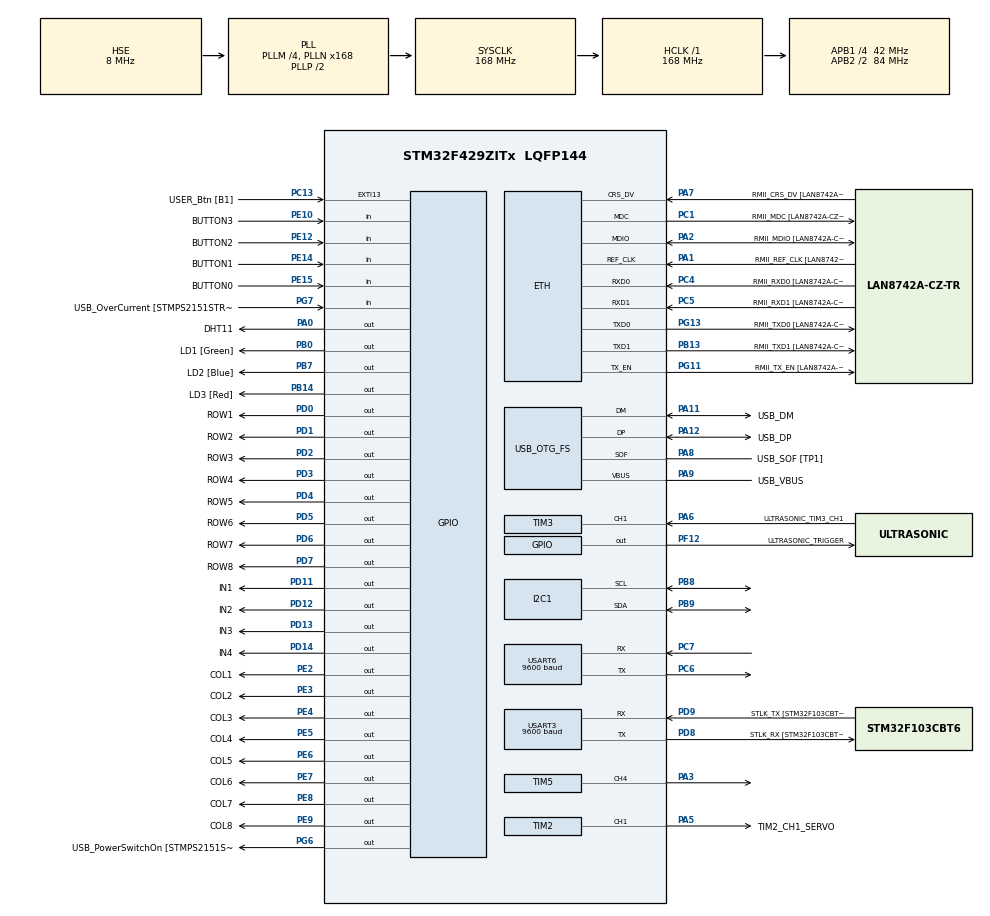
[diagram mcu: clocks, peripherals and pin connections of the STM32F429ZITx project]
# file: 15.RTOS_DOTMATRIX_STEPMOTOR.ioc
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ETH.MediaInterface=HAL_ETH_RMII_MODE
FREERTOS.Mutexes01=myMutex01,Dynamic,NULL
FREERTOS.Tasks01=defaultTask,24,128,StartDefaultTask,Default,NULL,Dynamic,NULL,NULL;Task1,8,128,Task1_func,Default,NULL,Dynamic,NULL,NULL;Task2,8,128,Task2_func,Default,NULL,Dynamic,NULL,NULL;Task3,8,128,Task3_func,Default,NULL,Dynamic,NULL,NULL
FREERTOS.configUSE_NEWLIB_REENTRANT=1
Mcu.Family=STM32F4
Mcu.Name=STM32F429ZITx
Mcu.Package=LQFP144
NVIC.EXTI15_10_IRQn=true\:5\:0\:false\:false\:true\:true\:true\:true\:true
NVIC.PriorityGroup=NVIC_PRIORITYGROUP_4
NVIC.TIM1_TRG_COM_TIM11_IRQn=true\:5\:0\:false\:false\:true\:true\:true\:true\:true
NVIC.TIM1_UP_TIM10_IRQn=true\:5\:0\:false\:false\:true\:true\:true\:true\:true
NVIC.TIM2_IRQn=true\:5\:0\:false\:false\:true\:true\:true\:true\:true
NVIC.TIM3_IRQn=true\:5\:0\:false\:false\:true\:true\:true\:true\:true
NVIC.TIM4_IRQn=true\:5\:0\:false\:false\:true\:true\:true\:true\:true
NVIC.TIM5_IRQn=true\:5\:0\:false\:false\:true\:true\:true\:true\:true
NVIC.TIM6_DAC_IRQn=true\:15\:0\:false\:false\:true\:false\:false\:true\:true
NVIC.TimeBase=TIM6_DAC_IRQn
NVIC.TimeBaseIP=TIM6
NVIC.USART3_IRQn=true\:5\:0\:false\:false\:true\:true\:true\:true\:true
NVIC.USART6_IRQn=true\:5\:0\:false\:false\:true\:true\:true\:true\:true
PA0/WKUP.GPIO_Label=DHT11
PA0/WKUP.Signal=GPIO_Output
PA1.GPIO_Label=RMII_REF_CLK [LAN8742A-CZ-TR_REFCLK0]
PA1.Mode=RMII
PA1.Signal=ETH_REF_CLK
PA10.GPIO_Label=USB_ID
PA10.Signal=USB_OTG_FS_ID
PA11.GPIO_Label=USB_DM
PA11.Mode=Device_Only
PA11.Signal=USB_OTG_FS_DM
PA12.GPIO_Label=USB_DP
PA12.Mode=Device_Only
PA12.Signal=USB_OTG_FS_DP
PA13.GPIO_Label=TMS
PA13.Mode=Serial_Wire
PA13.Signal=SYS_JTMS-SWDIO
PA14.GPIO_Label=TCK
PA14.Mode=Serial_Wire
PA14.Signal=SYS_JTCK-SWCLK
PA2.GPIO_Label=RMII_MDIO [LAN8742A-CZ-TR_MDIO]
PA2.Mode=RMII
PA2.Signal=ETH_MDIO
PA3.Signal=S_TIM5_CH4
PA5.GPIO_Label=TIM2_CH1_SERVO
PA5.Signal=S_TIM2_CH1_ETR
PA6.GPIO_Label=ULTRASONIC_TIM3_CH1
PA6.Signal=S_TIM3_CH1
PA7.GPIO_Label=RMII_CRS_DV [LAN8742A-CZ-TR_CRS_DV]
PA7.Mode=RMII
PA7.Signal=ETH_CRS_DV
PA8.GPIO_Label=USB_SOF [TP1]
PA8.Mode=Activate_SOF_FS
PA8.Signal=USB_OTG_FS_SOF
PA9.GPIO_Label=USB_VBUS
PA9.Mode=Activate_VBUS
PA9.Signal=USB_OTG_FS_VBUS
PB0.GPIO_Label=LD1 [Green]
PB0.Signal=GPIO_Output
PB13.GPIO_Label=RMII_TXD1 [LAN8742A-CZ-TR_TXD1]
PB13.Mode=RMII
PB13.Signal=ETH_TXD1
PB14.GPIO_Label=LD3 [Red]
PB14.Signal=GPIO_Output
PB7.GPIO_Label=LD2 [Blue]
PB7.Signal=GPIO_Output
PB8.Mode=I2C
PB8.Signal=I2C1_SCL
PB9.Mode=I2C
PB9.Signal=I2C1_SDA
PC1.GPIO_Label=RMII_MDC [LAN8742A-CZ-TR_MDC]
PC1.Mode=RMII
PC1.Signal=ETH_MDC
PC13.GPIO_Label=USER_Btn [B1]
PC13.Signal=GPXTI13
PC14/OSC32_IN.Mode=LSE-External-Oscillator
PC14/OSC32_IN.Signal=RCC_OSC32_IN
PC15/OSC32_OUT.Mode=LSE-External-Oscillator
PC15/OSC32_OUT.Signal=RCC_OSC32_OUT
PC4.GPIO_Label=RMII_RXD0 [LAN8742A-CZ-TR_RXD0]
PC4.Mode=RMII
PC4.Signal=ETH_RXD0
PC5.GPIO_Label=RMII_RXD1 [LAN8742A-CZ-TR_RXD1]
PC5.Mode=RMII
PC5.Signal=ETH_RXD1
PC6.Mode=Asynchronous
PC6.Signal=USART6_TX
PC7.Mode=Asynchronous
PC7.Signal=USART6_RX
PD0.GPIO_Label=ROW1
PD0.Signal=GPIO_Output
PD1.GPIO_Label=ROW2
PD1.Signal=GPIO_Output
PD11.GPIO_Label=IN1
PD11.Signal=GPIO_Output
PD12.GPIO_Label=IN2
PD12.Signal=GPIO_Output
PD13.GPIO_Label=IN3
PD13.Signal=GPIO_Output
PD14.GPIO_Label=IN4
PD14.Signal=GPIO_Output
PD2.GPIO_Label=ROW3
PD2.Signal=GPIO_Output
PD3.GPIO_Label=ROW4
PD3.Signal=GPIO_Output
PD4.GPIO_Label=ROW5
PD4.Signal=GPIO_Output
PD5.GPIO_Label=ROW6
PD5.Signal=GPIO_Output
PD6.GPIO_Label=ROW7
PD6.Signal=GPIO_Output
PD7.GPIO_Label=ROW8
PD7.Signal=GPIO_Output
PD8.GPIO_Label=STLK_RX [STM32F103CBT6_PA3]
PD8.Mode=Asynchronous
PD8.Signal=USART3_TX
PD9.GPIO_Label=STLK_TX [STM32F103CBT6_PA2]
PD9.Mode=Asynchronous
PD9.Signal=USART3_RX
PE10.GPIO_Label=BUTTON3
PE10.Signal=GPIO_Input
PE12.GPIO_Label=BUTTON2
PE12.Signal=GPIO_Input
PE14.GPIO_Label=BUTTON1
PE14.Signal=GPIO_Input
PE15.GPIO_Label=BUTTON0
PE15.Signal=GPIO_Input
PE2.GPIO_Label=COL1
PE2.Signal=GPIO_Output
PE3.GPIO_Label=COL2
PE3.Signal=GPIO_Output
PE4.GPIO_Label=COL3
PE4.Signal=GPIO_Output
PE5.GPIO_Label=COL4
PE5.Signal=GPIO_Output
PE6.GPIO_Label=COL5
PE6.Signal=GPIO_Output
PE7.GPIO_Label=COL6
PE7.Signal=GPIO_Output
PE8.GPIO_Label=COL7
PE8.Signal=GPIO_Output
PE9.GPIO_Label=COL8
PE9.Signal=GPIO_Output
PF12.GPIO_Label=ULTRASONIC_TRIGGER
PF12.Signal=GPIO_Output
PG11.GPIO_Label=RMII_TX_EN [LAN8742A-CZ-TR_TXEN]
PG11.Mode=RMII
PG11.Signal=ETH_TX_EN
PG13.GPIO_Label=RMII_TXD0 [LAN8742A-CZ-TR_TXD0]
PG13.Mode=RMII
PG13.Signal=ETH_TXD0
PG6.GPIO_Label=USB_PowerSwitchOn [STMPS2151STR_EN]
PG6.Signal=GPIO_Output
PG7.GPIO_Label=USB_OverCurrent [STMPS2151STR_FAULT]
PG7.Signal=GPIO_Input
PH0/OSC_IN.GPIO_Label=MCO [STM32F103CBT6_PA8]
PH0/OSC_IN.Mode=HSE-External-Clock-Source
PH0/OSC_IN.Signal=RCC_OSC_IN
PH1/OSC_OUT.Mode=HSE-External-Clock-Source
PH1/OSC_OUT.Signal=RCC_OSC_OUT
ProjectManager.HeapSize=0x200
ProjectManager.StackSize=0x400
ProjectManager.TargetToolchain=STM32CubeIDE
RCC.48MHZClocksFreq_Value=48000000
RCC.AHBFreq_Value=168000000
RCC.APB1CLKDivider=RCC_HCLK_DIV4
RCC.APB1Freq_Value=42000000
RCC.APB1TimFreq_Value=84000000
RCC.APB2CLKDivider=RCC_HCLK_DIV2
RCC.APB2Freq_Value=84000000
RCC.APB2TimCLKDivider=2
RCC.APB2TimFreq_Value=168000000
RCC.CortexFreq_Value=168000000
RCC.HCLKFreq_Value=168000000
RCC.HSE_VALUE=8000000
RCC.HSI_VALUE=16000000
RCC.PLLM=4
RCC.PLLMUL=RCC_PLL_MUL9
RCC.PLLN=168
RCC.PLLQ=7
RCC.PRESCALERUSB=RCC_USBCLKSOURCE_PLL_DIV1_5
RCC.SYSCLKFreq_VALUE=168000000
RCC.SYSCLKSource=RCC_SYSCLKSOURCE_PLLCLK
RCC.SYSCLKSourceVirtual=RCC_SYSCLKSOURCE_PLLCLK
RCC.USBFreq_Value=48000000
RCC.VCOOutputFreq_Value=336000000
RTC.Date=16
RTC.Hours=9
RTC.Minutes=38
RTC.Month=RTC_MONTH_OCTOBER
RTC.Year=23
SH.S_TIM2_CH1_ETR.0=TIM2_CH1,PWM Generation1 CH1
SH.S_TIM3_CH1.0=TIM3_CH1,Input_Capture1_from_TI1
SH.S_TIM5_CH4.0=TIM5_CH4,PWM Generation4 CH4
TIM10.Period=10000-1
TIM10.Prescaler=168-1
TIM11.Prescaler=168-1
TIM2.Channel-PWM\ Generation1\ CH1=TIM_CHANNEL_1
TIM2.Period=1000-1
TIM2.Prescaler=1680-1
TIM2.Pulse-PWM\ Generation1\ CH1=500-1
TIM3.Channel-Input_Capture1_from_TI1=TIM_CHANNEL_1
TIM3.ICPolarity_CH1=TIM_INPUTCHANNELPOLARITY_BOTHEDGE
TIM3.Prescaler=84-1
TIM4.Period=100-1
TIM4.Prescaler=840-1
TIM5.Channel-PWM\ Generation4\ CH4=TIM_CHANNEL_4
TIM5.Period=400-1
TIM5.Prescaler=52.5-1
TIM5.Pulse-PWM\ Generation4\ CH4=200-1
USART3.BaudRate=9600
USART3.VirtualMode=VM_ASYNC
USART6.BaudRate=9600
USART6.VirtualMode=VM_ASYNC
USB_OTG_FS.VirtualMode=Device_Only
VP_FREERTOS_VS_CMSIS_V2.Mode=CMSIS_V2
VP_RTC_VS_RTC_Activate.Mode=RTC_Enabled
VP_RTC_VS_RTC_Calendar.Mode=RTC_Calendar
VP_SYS_VS_tim6.Mode=TIM6
VP_TIM10_VS_ClockSourceINT.Mode=Enable_Timer
VP_TIM11_VS_ClockSourceINT.Mode=Enable_Timer
VP_TIM4_VS_ClockSourceINT.Mode=Internal
VP_TIM5_VS_ClockSourceINT.Mode=Internal
board=NUCLEO-F429ZI

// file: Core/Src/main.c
/* USER CODE BEGIN Header */
/**
  ******************************************************************************
  * @file           : main.c
  * @brief          : Main program body
  ******************************************************************************
  * @attention
  *
  * Copyright (c) 2023 STMicroelectronics.
  * All rights reserved.
  *
  * This software is licensed under terms that can be found in the LICENSE file
  * in the root directory of this software component.
  * If no LICENSE file comes with this software, it is provided AS-IS.
  *
  ******************************************************************************
  */
/* USER CODE END Header */
#include "main.h"
#include "string.h"
#include "cmsis_os.h"

ETH_TxPacketConfig TxConfig;
ETH_DMADescTypeDef  DMARxDscrTab[ETH_RX_DESC_CNT]; /* Ethernet Rx DMA Descriptors */
ETH_DMADescTypeDef  DMATxDscrTab[ETH_TX_DESC_CNT]; /* Ethernet Tx DMA Descriptors */

ETH_HandleTypeDef heth;

I2C_HandleTypeDef hi2c1;

RTC_HandleTypeDef hrtc;

TIM_HandleTypeDef htim2;
TIM_HandleTypeDef htim3;
TIM_HandleTypeDef htim4;
TIM_HandleTypeDef htim5;
TIM_HandleTypeDef htim10;
TIM_HandleTypeDef htim11;

UART_HandleTypeDef huart3;
UART_HandleTypeDef huart6;

PCD_HandleTypeDef hpcd_USB_OTG_FS;

/* Definitions for defaultTask */
osThreadId_t defaultTaskHandle;
const osThreadAttr_t defaultTask_attributes = {
  .name = "defaultTask",
  .stack_size = 128 * 4,
  .priority = (osPriority_t) osPriorityNormal,
};
/* Definitions for Task1 */
osThreadId_t Task1Handle;
const osThreadAttr_t Task1_attributes = {
  .name = "Task1",
  .stack_size = 128 * 4,
  .priority = (osPriority_t) osPriorityLow,
};
/* Definitions for Task2 */
osThreadId_t Task2Handle;
const osThreadAttr_t Task2_attributes = {
  .name = "Task2",
  .stack_size = 128 * 4,
  .priority = (osPriority_t) osPriorityLow,
};
/* Definitions for Task3 */
osThreadId_t Task3Handle;
const osThreadAttr_t Task3_attributes = {
  .name = "Task3",
  .stack_size = 128 * 4,
  .priority = (osPriority_t) osPriorityLow,
};
/* Definitions for myMutex01 */
osMutexId_t myMutex01Handle;
const osMutexAttr_t myMutex01_attributes = {
  .name = "myMutex01"
};
/* USER CODE BEGIN PV */
uint8_t rx_data;   // uart3 rx data
uint8_t bt_rx_data;   // uart6 bt rx data
volatile int TIM10_10ms_counter=0;
volatile int TIM10_10ms_ultrasonic=0;
/* USER CODE END PV */

void SystemClock_Config(void);
static void MX_GPIO_Init(void);
static void MX_ETH_Init(void);
static void MX_USART3_UART_Init(void);
static void MX_USB_OTG_FS_PCD_Init(void);
static void MX_USART6_UART_Init(void);
static void MX_TIM10_Init(void);
static void MX_TIM11_Init(void);
static void MX_TIM3_Init(void);
static void MX_TIM4_Init(void);
static void MX_TIM2_Init(void);
static void MX_RTC_Init(void);
static void MX_TIM5_Init(void);
static void MX_I2C1_Init(void);
void StartDefaultTask(void *argument);
void Task1_func(void *argument);
void Task2_func(void *argument);
void Task3_func(void *argument);

/* USER CODE BEGIN PFP */
extern void led_main(void);
extern void pc_command_processing(void);
extern void bt_command_processing(void);
extern void DHT11_main(void);
extern void DHT11_Init(void);
extern void DHT11_processing(void);
extern void ultrasonic_processing(void);
extern void i2c_lcd_main(void);
extern void i2c_lcd_init(void);
extern void lcd_string(uint8_t *str);
extern void move_cursor(uint8_t row, uint8_t column);
extern void dcmotor_pwm_control(void);
extern void servo_motor_test_main(void);
extern void get_rtc(void);
extern void lcd_display_mode_select(void);
extern void set_time_button_ui(void);
extern void buzzer_main();
extern int dotmatrix_main_test(void);
extern int dotmatrix_main(void);
extern void stepmotor_main_test(void);
extern void init_dotmatrix(void);

void delay_us(unsigned long us);
/* USER CODE END PFP */

/* USER CODE BEGIN 0 */
//---------------
// call by SysTick_Handler of stm32f4xx_it.c
// ARM default timer
// enter here every 1ms
volatile int t1ms_counter=0;  // volatile : for disable optimize
void HAL_SYSTICK_Handler(void)
{
	t1ms_counter++;   // 1ms timer
}
//----------  printf start ----------
#ifdef __GNUC__
/* With GCC, small printf (option LD Linker->Libraries->Small printf
   set to 'Yes') calls __io_putchar() */
#define PUTCHAR_PROTOTYPE int __io_putchar(int ch)
#else
#define PUTCHAR_PROTOTYPE int fputc(int ch, FILE *f)
#endif /* __GNUC_ */
/**
  * @brief  Retargets the C library printf function to the USART.
  * @param  None
  * @retval None
  */
PUTCHAR_PROTOTYPE   // Add for printf
{
  /* Place your implementation of fputc here */
  /* e.g. write a character to the USART3 and Loop until the end of transmission */
  HAL_UART_Transmit(&huart3, (uint8_t *)&ch, 1, 0xFFFF);

  return ch;
}
//----------  printf end ----------

void delay_us(unsigned long us)
{
	__HAL_TIM_SET_COUNTER(&htim11,0);   // tim11 clear
	while(__HAL_TIM_GET_COUNTER(&htim11) < us)
		;
}
/* USER CODE END 0 */

int main(void)
{

  /* MCU Configuration--------------------------------------------------------*/

  /* Reset of all peripherals, Initializes the Flash interface and the Systick. */
  HAL_Init();

  /* Configure the system clock */
  SystemClock_Config();

  /* Initialize all configured peripherals */
  MX_GPIO_Init();
  MX_ETH_Init();
  MX_USART3_UART_Init();
  MX_USB_OTG_FS_PCD_Init();
  MX_USART6_UART_Init();
  MX_TIM10_Init();
  MX_TIM11_Init();
  MX_TIM3_Init();
  MX_TIM4_Init();
  MX_TIM2_Init();
  MX_RTC_Init();
  MX_TIM5_Init();
  MX_I2C1_Init();
  /* USER CODE BEGIN 2 */
  HAL_UART_Receive_IT(&huart3, &rx_data, 1);   // assing to RX INT
  HAL_UART_Receive_IT(&huart6, &bt_rx_data, 1);   // for BT assing to RX INT
  HAL_TIM_Base_Start_IT(&htim10);   // ADD_SIKWON_1011
  HAL_TIM_Base_Start_IT(&htim11);   // ADD_SIKWON_1011
  HAL_TIM_IC_Start_IT(&htim3, TIM_CHANNEL_1);   // for count pulse(rising edge & falling edge)
  HAL_TIM_PWM_Start_IT(&htim4, TIM_CHANNEL_1);  // for DC motor PWM control
  HAL_TIM_PWM_Start(&htim2, TIM_CHANNEL_1);   // for SERVO motor PWM control
  HAL_TIM_PWM_Start(&htim5, TIM_CHANNEL_4);   // PIEZO Buzzer

//  DHT11_Init();
//  i2c_lcd_init();
  init_dotmatrix();

  TIM10_10ms_counter=0;

//	stepmotor_main_test(); // Placed in Task2_func() instead for multithreading

//  dotmatrix_main(); // Placed in Task1_func() instead for multithreading

//  dotmatrix_main_test();
//  led_main();
//  DHT11_main();
//  i2c_lcd_main();
//  servo_motor_test_main();
//    buzzer_main();

  /* USER CODE END 2 */

  /* Init scheduler */
  osKernelInitialize();
  /* Create the mutex(es) */
  /* creation of myMutex01 */
  myMutex01Handle = osMutexNew(&myMutex01_attributes);

  /* Create the thread(s) */
  /* creation of defaultTask */
  defaultTaskHandle = osThreadNew(StartDefaultTask, NULL, &defaultTask_attributes);

  /* creation of Task1 */
  Task1Handle = osThreadNew(Task1_func, NULL, &Task1_attributes);

  /* creation of Task2 */
  Task2Handle = osThreadNew(Task2_func, NULL, &Task2_attributes);

  /* creation of Task3 */
  Task3Handle = osThreadNew(Task3_func, NULL, &Task3_attributes);

  /* Start scheduler */
  osKernelStart();

  /* We should never get here as control is now taken by the scheduler */
  /* Infinite loop */
  /* USER CODE BEGIN WHILE */
  while (1)
  {
//	DHT11_processing();
// 	pc_command_processing();
// 	bt_command_processing();
// 	ultrasonic_processing();
// 	dcmotor_pwm_control();
// 	get_rtc();
// 	lcd_display_mode_select();
// 	set_time_button_ui();
    /* USER CODE END WHILE */

  }
}

void SystemClock_Config(void)
{
  RCC_OscInitTypeDef RCC_OscInitStruct = {0};
  RCC_ClkInitTypeDef RCC_ClkInitStruct = {0};

  /** Configure the main internal regulator output voltage
  */
  __HAL_RCC_PWR_CLK_ENABLE();
  __HAL_PWR_VOLTAGESCALING_CONFIG(PWR_REGULATOR_VOLTAGE_SCALE1);

  /** Initializes the RCC Oscillators according to the specified parameters
  * in the RCC_OscInitTypeDef structure.
  */
  RCC_OscInitStruct.OscillatorType = RCC_OSCILLATORTYPE_LSI|RCC_OSCILLATORTYPE_HSE;
  RCC_OscInitStruct.HSEState = RCC_HSE_BYPASS;
  RCC_OscInitStruct.LSIState = RCC_LSI_ON;
  RCC_OscInitStruct.PLL.PLLState = RCC_PLL_ON;
  RCC_OscInitStruct.PLL.PLLSource = RCC_PLLSOURCE_HSE;
  RCC_OscInitStruct.PLL.PLLM = 4;
  RCC_OscInitStruct.PLL.PLLN = 168;
  RCC_OscInitStruct.PLL.PLLP = RCC_PLLP_DIV2;
  RCC_OscInitStruct.PLL.PLLQ = 7;
  if (HAL_RCC_OscConfig(&RCC_OscInitStruct) != HAL_OK)
  {
    Error_Handler();
  }

  /** Initializes the CPU, AHB and APB buses clocks
  */
  RCC_ClkInitStruct.ClockType = RCC_CLOCKTYPE_HCLK|RCC_CLOCKTYPE_SYSCLK
                              |RCC_CLOCKTYPE_PCLK1|RCC_CLOCKTYPE_PCLK2;
  RCC_ClkInitStruct.SYSCLKSource = RCC_SYSCLKSOURCE_PLLCLK;
  RCC_ClkInitStruct.AHBCLKDivider = RCC_SYSCLK_DIV1;
  RCC_ClkInitStruct.APB1CLKDivider = RCC_HCLK_DIV4;
  RCC_ClkInitStruct.APB2CLKDivider = RCC_HCLK_DIV2;

  if (HAL_RCC_ClockConfig(&RCC_ClkInitStruct, FLASH_LATENCY_5) != HAL_OK)
  {
    Error_Handler();
  }
}

static void MX_ETH_Init(void)
{

   static uint8_t MACAddr[6];

  heth.Instance = ETH;
  MACAddr[0] = 0x00;
  MACAddr[1] = 0x80;
  MACAddr[2] = 0xE1;
  MACAddr[3] = 0x00;
  MACAddr[4] = 0x00;
  MACAddr[5] = 0x00;
  heth.Init.MACAddr = &MACAddr[0];
  heth.Init.MediaInterface = HAL_ETH_RMII_MODE;
  heth.Init.TxDesc = DMATxDscrTab;
  heth.Init.RxDesc = DMARxDscrTab;
  heth.Init.RxBuffLen = 1524;

  if (HAL_ETH_Init(&heth) != HAL_OK)
  {
    Error_Handler();
  }

  memset(&TxConfig, 0 , sizeof(ETH_TxPacketConfig));
  TxConfig.Attributes = ETH_TX_PACKETS_FEATURES_CSUM | ETH_TX_PACKETS_FEATURES_CRCPAD;
  TxConfig.ChecksumCtrl = ETH_CHECKSUM_IPHDR_PAYLOAD_INSERT_PHDR_CALC;
  TxConfig.CRCPadCtrl = ETH_CRC_PAD_INSERT;

}

static void MX_I2C1_Init(void)
{

  hi2c1.Instance = I2C1;
  hi2c1.Init.ClockSpeed = 100000;
  hi2c1.Init.DutyCycle = I2C_DUTYCYCLE_2;
  hi2c1.Init.OwnAddress1 = 0;
  hi2c1.Init.AddressingMode = I2C_ADDRESSINGMODE_7BIT;
  hi2c1.Init.DualAddressMode = I2C_DUALADDRESS_DISABLE;
  hi2c1.Init.OwnAddress2 = 0;
  hi2c1.Init.GeneralCallMode = I2C_GENERALCALL_DISABLE;
  hi2c1.Init.NoStretchMode = I2C_NOSTRETCH_DISABLE;
  if (HAL_I2C_Init(&hi2c1) != HAL_OK)
  {
    Error_Handler();
  }

  /** Configure Analogue filter
  */
  if (HAL_I2CEx_ConfigAnalogFilter(&hi2c1, I2C_ANALOGFILTER_ENABLE) != HAL_OK)
  {
    Error_Handler();
  }

  /** Configure Digital filter
  */
  if (HAL_I2CEx_ConfigDigitalFilter(&hi2c1, 0) != HAL_OK)
  {
    Error_Handler();
  }

}

static void MX_RTC_Init(void)
{

  RTC_TimeTypeDef sTime = {0};
  RTC_DateTypeDef sDate = {0};

  /** Initialize RTC Only
  */
  hrtc.Instance = RTC;
  hrtc.Init.HourFormat = RTC_HOURFORMAT_24;
  hrtc.Init.AsynchPrediv = 127;
  hrtc.Init.SynchPrediv = 255;
  hrtc.Init.OutPut = RTC_OUTPUT_DISABLE;
  hrtc.Init.OutPutPolarity = RTC_OUTPUT_POLARITY_HIGH;
  hrtc.Init.OutPutType = RTC_OUTPUT_TYPE_OPENDRAIN;
  if (HAL_RTC_Init(&hrtc) != HAL_OK)
  {
    Error_Handler();
  }

  /** Initialize RTC and set the Time and Date
  */
  sTime.Hours = 0x9;
  sTime.Minutes = 0x38;
  sTime.Seconds = 0x0;
  sTime.DayLightSaving = RTC_DAYLIGHTSAVING_NONE;
  sTime.StoreOperation = RTC_STOREOPERATION_RESET;
  if (HAL_RTC_SetTime(&hrtc, &sTime, RTC_FORMAT_BCD) != HAL_OK)
  {
    Error_Handler();
  }
  sDate.WeekDay = RTC_WEEKDAY_MONDAY;
  sDate.Month = RTC_MONTH_OCTOBER;
  sDate.Date = 0x16;
  sDate.Year = 0x23;

  if (HAL_RTC_SetDate(&hrtc, &sDate, RTC_FORMAT_BCD) != HAL_OK)
  {
    Error_Handler();
  }

}

static void MX_TIM2_Init(void)
{

  TIM_MasterConfigTypeDef sMasterConfig = {0};
  TIM_OC_InitTypeDef sConfigOC = {0};

  htim2.Instance = TIM2;
  htim2.Init.Prescaler = 1680-1;
  htim2.Init.CounterMode = TIM_COUNTERMODE_UP;
  htim2.Init.Period = 1000-1;
  htim2.Init.ClockDivision = TIM_CLOCKDIVISION_DIV1;
  htim2.Init.AutoReloadPreload = TIM_AUTORELOAD_PRELOAD_DISABLE;
  if (HAL_TIM_PWM_Init(&htim2) != HAL_OK)
  {
    Error_Handler();
  }
  sMasterConfig.MasterOutputTrigger = TIM_TRGO_RESET;
  sMasterConfig.MasterSlaveMode = TIM_MASTERSLAVEMODE_DISABLE;
  if (HAL_TIMEx_MasterConfigSynchronization(&htim2, &sMasterConfig) != HAL_OK)
  {
    Error_Handler();
  }
  sConfigOC.OCMode = TIM_OCMODE_PWM1;
  sConfigOC.Pulse = 500-1;
  sConfigOC.OCPolarity = TIM_OCPOLARITY_HIGH;
  sConfigOC.OCFastMode = TIM_OCFAST_DISABLE;
  if (HAL_TIM_PWM_ConfigChannel(&htim2, &sConfigOC, TIM_CHANNEL_1) != HAL_OK)
  {
    Error_Handler();
  }
  HAL_TIM_MspPostInit(&htim2);

}

static void MX_TIM3_Init(void)
{

  TIM_MasterConfigTypeDef sMasterConfig = {0};
  TIM_IC_InitTypeDef sConfigIC = {0};

  htim3.Instance = TIM3;
  htim3.Init.Prescaler = 84-1;
  htim3.Init.CounterMode = TIM_COUNTERMODE_UP;
  htim3.Init.Period = 65535;
  htim3.Init.ClockDivision = TIM_CLOCKDIVISION_DIV1;
  htim3.Init.AutoReloadPreload = TIM_AUTORELOAD_PRELOAD_DISABLE;
  if (HAL_TIM_IC_Init(&htim3) != HAL_OK)
  {
    Error_Handler();
  }
  sMasterConfig.MasterOutputTrigger = TIM_TRGO_RESET;
  sMasterConfig.MasterSlaveMode = TIM_MASTERSLAVEMODE_DISABLE;
  if (HAL_TIMEx_MasterConfigSynchronization(&htim3, &sMasterConfig) != HAL_OK)
  {
    Error_Handler();
  }
  sConfigIC.ICPolarity = TIM_INPUTCHANNELPOLARITY_BOTHEDGE;
  sConfigIC.ICSelection = TIM_ICSELECTION_DIRECTTI;
  sConfigIC.ICPrescaler = TIM_ICPSC_DIV1;
  sConfigIC.ICFilter = 0;
  if (HAL_TIM_IC_ConfigChannel(&htim3, &sConfigIC, TIM_CHANNEL_1) != HAL_OK)
  {
    Error_Handler();
  }

}

static void MX_TIM4_Init(void)
{

  TIM_ClockConfigTypeDef sClockSourceConfig = {0};
  TIM_MasterConfigTypeDef sMasterConfig = {0};

  htim4.Instance = TIM4;
  htim4.Init.Prescaler = 840-1;
  htim4.Init.CounterMode = TIM_COUNTERMODE_UP;
  htim4.Init.Period = 100-1;
  htim4.Init.ClockDivision = TIM_CLOCKDIVISION_DIV1;
  htim4.Init.AutoReloadPreload = TIM_AUTORELOAD_PRELOAD_DISABLE;
  if (HAL_TIM_Base_Init(&htim4) != HAL_OK)
  {
    Error_Handler();
  }
  sClockSourceConfig.ClockSource = TIM_CLOCKSOURCE_INTERNAL;
  if (HAL_TIM_ConfigClockSource(&htim4, &sClockSourceConfig) != HAL_OK)
  {
    Error_Handler();
  }
  sMasterConfig.MasterOutputTrigger = TIM_TRGO_RESET;
  sMasterConfig.MasterSlaveMode = TIM_MASTERSLAVEMODE_DISABLE;
  if (HAL_TIMEx_MasterConfigSynchronization(&htim4, &sMasterConfig) != HAL_OK)
  {
    Error_Handler();
  }

}

static void MX_TIM5_Init(void)
{

  TIM_ClockConfigTypeDef sClockSourceConfig = {0};
  TIM_MasterConfigTypeDef sMasterConfig = {0};
  TIM_OC_InitTypeDef sConfigOC = {0};

  htim5.Instance = TIM5;
  htim5.Init.Prescaler = 52.5-1;
  htim5.Init.CounterMode = TIM_COUNTERMODE_UP;
  htim5.Init.Period = 400-1;
  htim5.Init.ClockDivision = TIM_CLOCKDIVISION_DIV1;
  htim5.Init.AutoReloadPreload = TIM_AUTORELOAD_PRELOAD_DISABLE;
  if (HAL_TIM_Base_Init(&htim5) != HAL_OK)
  {
    Error_Handler();
  }
  sClockSourceConfig.ClockSource = TIM_CLOCKSOURCE_INTERNAL;
  if (HAL_TIM_ConfigClockSource(&htim5, &sClockSourceConfig) != HAL_OK)
  {
    Error_Handler();
  }
  if (HAL_TIM_PWM_Init(&htim5) != HAL_OK)
  {
    Error_Handler();
  }
  sMasterConfig.MasterOutputTrigger = TIM_TRGO_RESET;
  sMasterConfig.MasterSlaveMode = TIM_MASTERSLAVEMODE_DISABLE;
  if (HAL_TIMEx_MasterConfigSynchronization(&htim5, &sMasterConfig) != HAL_OK)
  {
    Error_Handler();
  }
  sConfigOC.OCMode = TIM_OCMODE_PWM1;
  sConfigOC.Pulse = 200-1;
  sConfigOC.OCPolarity = TIM_OCPOLARITY_HIGH;
  sConfigOC.OCFastMode = TIM_OCFAST_DISABLE;
  if (HAL_TIM_PWM_ConfigChannel(&htim5, &sConfigOC, TIM_CHANNEL_4) != HAL_OK)
  {
    Error_Handler();
  }
  HAL_TIM_MspPostInit(&htim5);

}

static void MX_TIM10_Init(void)
{

  htim10.Instance = TIM10;
  htim10.Init.Prescaler = 168-1;
  htim10.Init.CounterMode = TIM_COUNTERMODE_UP;
  htim10.Init.Period = 10000-1;
  htim10.Init.ClockDivision = TIM_CLOCKDIVISION_DIV1;
  htim10.Init.AutoReloadPreload = TIM_AUTORELOAD_PRELOAD_DISABLE;
  if (HAL_TIM_Base_Init(&htim10) != HAL_OK)
  {
    Error_Handler();
  }

}

static void MX_TIM11_Init(void)
{

  htim11.Instance = TIM11;
  htim11.Init.Prescaler = 168-1;
  htim11.Init.CounterMode = TIM_COUNTERMODE_UP;
  htim11.Init.Period = 65535;
  htim11.Init.ClockDivision = TIM_CLOCKDIVISION_DIV1;
  htim11.Init.AutoReloadPreload = TIM_AUTORELOAD_PRELOAD_DISABLE;
  if (HAL_TIM_Base_Init(&htim11) != HAL_OK)
  {
    Error_Handler();
  }

}

static void MX_USART3_UART_Init(void)
{

  huart3.Instance = USART3;
  huart3.Init.BaudRate = 9600;
  huart3.Init.WordLength = UART_WORDLENGTH_8B;
  huart3.Init.StopBits = UART_STOPBITS_1;
  huart3.Init.Parity = UART_PARITY_NONE;
  huart3.Init.Mode = UART_MODE_TX_RX;
  huart3.Init.HwFlowCtl = UART_HWCONTROL_NONE;
  huart3.Init.OverSampling = UART_OVERSAMPLING_16;
  if (HAL_UART_Init(&huart3) != HAL_OK)
  {
    Error_Handler();
  }

}

static void MX_USART6_UART_Init(void)
{

  huart6.Instance = USART6;
  huart6.Init.BaudRate = 9600;
  huart6.Init.WordLength = UART_WORDLENGTH_8B;
  huart6.Init.StopBits = UART_STOPBITS_1;
  huart6.Init.Parity = UART_PARITY_NONE;
  huart6.Init.Mode = UART_MODE_TX_RX;
  huart6.Init.HwFlowCtl = UART_HWCONTROL_NONE;
  huart6.Init.OverSampling = UART_OVERSAMPLING_16;
  if (HAL_UART_Init(&huart6) != HAL_OK)
  {
    Error_Handler();
  }

}

static void MX_USB_OTG_FS_PCD_Init(void)
{

  hpcd_USB_OTG_FS.Instance = USB_OTG_FS;
  hpcd_USB_OTG_FS.Init.dev_endpoints = 4;
  hpcd_USB_OTG_FS.Init.speed = PCD_SPEED_FULL;
  hpcd_USB_OTG_FS.Init.dma_enable = DISABLE;
  hpcd_USB_OTG_FS.Init.phy_itface = PCD_PHY_EMBEDDED;
  hpcd_USB_OTG_FS.Init.Sof_enable = ENABLE;
  hpcd_USB_OTG_FS.Init.low_power_enable = DISABLE;
  hpcd_USB_OTG_FS.Init.lpm_enable = DISABLE;
  hpcd_USB_OTG_FS.Init.vbus_sensing_enable = ENABLE;
  hpcd_USB_OTG_FS.Init.use_dedicated_ep1 = DISABLE;
  if (HAL_PCD_Init(&hpcd_USB_OTG_FS) != HAL_OK)
  {
    Error_Handler();
  }

}

static void MX_GPIO_Init(void)
{
  GPIO_InitTypeDef GPIO_InitStruct = {0};

  /* GPIO Ports Clock Enable */
  __HAL_RCC_GPIOE_CLK_ENABLE();
  __HAL_RCC_GPIOC_CLK_ENABLE();
  __HAL_RCC_GPIOH_CLK_ENABLE();
  __HAL_RCC_GPIOA_CLK_ENABLE();
  __HAL_RCC_GPIOB_CLK_ENABLE();
  __HAL_RCC_GPIOF_CLK_ENABLE();
  __HAL_RCC_GPIOD_CLK_ENABLE();
  __HAL_RCC_GPIOG_CLK_ENABLE();

  /*Configure GPIO pin Output Level */
  HAL_GPIO_WritePin(GPIOE, COL1_Pin|COL2_Pin|COL3_Pin|COL4_Pin
                          |COL5_Pin|COL6_Pin|COL7_Pin|COL8_Pin, GPIO_PIN_RESET);

  /*Configure GPIO pin Output Level */
  HAL_GPIO_WritePin(DHT11_GPIO_Port, DHT11_Pin, GPIO_PIN_RESET);

  /*Configure GPIO pin Output Level */
  HAL_GPIO_WritePin(GPIOB, LD1_Pin|LD3_Pin|LD2_Pin, GPIO_PIN_RESET);

  /*Configure GPIO pin Output Level */
  HAL_GPIO_WritePin(ULTRASONIC_TRIGGER_GPIO_Port, ULTRASONIC_TRIGGER_Pin, GPIO_PIN_RESET);

  /*Configure GPIO pin Output Level */
  HAL_GPIO_WritePin(GPIOD, IN1_Pin|IN2_Pin|IN3_Pin|IN4_Pin
                          |ROW1_Pin|ROW2_Pin|ROW3_Pin|ROW4_Pin
                          |ROW5_Pin|ROW6_Pin|ROW7_Pin|ROW8_Pin, GPIO_PIN_RESET);

  /*Configure GPIO pin Output Level */
  HAL_GPIO_WritePin(USB_PowerSwitchOn_GPIO_Port, USB_PowerSwitchOn_Pin, GPIO_PIN_RESET);

  /*Configure GPIO pins : COL1_Pin COL2_Pin COL3_Pin COL4_Pin
                           COL5_Pin COL6_Pin COL7_Pin COL8_Pin */
  GPIO_InitStruct.Pin = COL1_Pin|COL2_Pin|COL3_Pin|COL4_Pin
                          |COL5_Pin|COL6_Pin|COL7_Pin|COL8_Pin;
  GPIO_InitStruct.Mode = GPIO_MODE_OUTPUT_PP;
  GPIO_InitStruct.Pull = GPIO_NOPULL;
  GPIO_InitStruct.Speed = GPIO_SPEED_FREQ_LOW;
  HAL_GPIO_Init(GPIOE, &GPIO_InitStruct);

  /*Configure GPIO pin : USER_Btn_Pin */
  GPIO_InitStruct.Pin = USER_Btn_Pin;
  GPIO_InitStruct.Mode = GPIO_MODE_IT_RISING;
  GPIO_InitStruct.Pull = GPIO_NOPULL;
  HAL_GPIO_Init(USER_Btn_GPIO_Port, &GPIO_InitStruct);

  /*Configure GPIO pin : DHT11_Pin */
  GPIO_InitStruct.Pin = DHT11_Pin;
  GPIO_InitStruct.Mode = GPIO_MODE_OUTPUT_PP;
  GPIO_InitStruct.Pull = GPIO_NOPULL;
  GPIO_InitStruct.Speed = GPIO_SPEED_FREQ_LOW;
  HAL_GPIO_Init(DHT11_GPIO_Port, &GPIO_InitStruct);

  /*Configure GPIO pins : LD1_Pin LD3_Pin LD2_Pin */
  GPIO_InitStruct.Pin = LD1_Pin|LD3_Pin|LD2_Pin;
  GPIO_InitStruct.Mode = GPIO_MODE_OUTPUT_PP;
  GPIO_InitStruct.Pull = GPIO_NOPULL;
  GPIO_InitStruct.Speed = GPIO_SPEED_FREQ_LOW;
  HAL_GPIO_Init(GPIOB, &GPIO_InitStruct);

  /*Configure GPIO pin : ULTRASONIC_TRIGGER_Pin */
  GPIO_InitStruct.Pin = ULTRASONIC_TRIGGER_Pin;
  GPIO_InitStruct.Mode = GPIO_MODE_OUTPUT_PP;
  GPIO_InitStruct.Pull = GPIO_NOPULL;
  GPIO_InitStruct.Speed = GPIO_SPEED_FREQ_LOW;
  HAL_GPIO_Init(ULTRASONIC_TRIGGER_GPIO_Port, &GPIO_InitStruct);

  /*Configure GPIO pins : BUTTON3_Pin BUTTON2_Pin BUTTON1_Pin BUTTON0_Pin */
  GPIO_InitStruct.Pin = BUTTON3_Pin|BUTTON2_Pin|BUTTON1_Pin|BUTTON0_Pin;
  GPIO_InitStruct.Mode = GPIO_MODE_INPUT;
  GPIO_InitStruct.Pull = GPIO_NOPULL;
  HAL_GPIO_Init(GPIOE, &GPIO_InitStruct);

  /*Configure GPIO pins : IN1_Pin IN2_Pin IN3_Pin IN4_Pin
                           ROW1_Pin ROW2_Pin ROW3_Pin ROW4_Pin
                           ROW5_Pin ROW6_Pin ROW7_Pin ROW8_Pin */
  GPIO_InitStruct.Pin = IN1_Pin|IN2_Pin|IN3_Pin|IN4_Pin
                          |ROW1_Pin|ROW2_Pin|ROW3_Pin|ROW4_Pin
                          |ROW5_Pin|ROW6_Pin|ROW7_Pin|ROW8_Pin;
  GPIO_InitStruct.Mode = GPIO_MODE_OUTPUT_PP;
  GPIO_InitStruct.Pull = GPIO_NOPULL;
  GPIO_InitStruct.Speed = GPIO_SPEED_FREQ_LOW;
  HAL_GPIO_Init(GPIOD, &GPIO_InitStruct);

  /*Configure GPIO pin : USB_PowerSwitchOn_Pin */
  GPIO_InitStruct.Pin = USB_PowerSwitchOn_Pin;
  GPIO_InitStruct.Mode = GPIO_MODE_OUTPUT_PP;
  GPIO_InitStruct.Pull = GPIO_NOPULL;
  GPIO_InitStruct.Speed = GPIO_SPEED_FREQ_LOW;
  HAL_GPIO_Init(USB_PowerSwitchOn_GPIO_Port, &GPIO_InitStruct);

  /*Configure GPIO pin : USB_OverCurrent_Pin */
  GPIO_InitStruct.Pin = USB_OverCurrent_Pin;
  GPIO_InitStruct.Mode = GPIO_MODE_INPUT;
  GPIO_InitStruct.Pull = GPIO_NOPULL;
  HAL_GPIO_Init(USB_OverCurrent_GPIO_Port, &GPIO_InitStruct);

  /* EXTI interrupt init*/
  HAL_NVIC_SetPriority(EXTI15_10_IRQn, 5, 0);
  HAL_NVIC_EnableIRQ(EXTI15_10_IRQn);

}

void StartDefaultTask(void *argument)
{
  for(;;)
  {
    osDelay(1);
  }
}

void Task1_func(void *argument)
{
  /* USER CODE BEGIN Task1_func */
  /* Infinite loop */
  for(;;)
  {
	dotmatrix_main();
    osDelay(1);
  }
  /* USER CODE END Task1_func */
}

void Task2_func(void *argument)
{
  /* USER CODE BEGIN Task2_func */
  /* Infinite loop */
  for(;;)
  {
	stepmotor_main_test();
    osDelay(1);
  }
  /* USER CODE END Task2_func */
}

void Task3_func(void *argument)
{
  for(;;)
  {
    osDelay(1);
  }
}

void HAL_TIM_PeriodElapsedCallback(TIM_HandleTypeDef *htim)
{
  /* USER CODE BEGIN Callback 0 */
	if (htim->Instance == TIM10)
	{
		TIM10_10ms_counter++;  // 10ms timer counter
		TIM10_10ms_ultrasonic++;  // ultrasonic trigger timer
	}
  /* USER CODE END Callback 0 */
  if (htim->Instance == TIM6) {
    HAL_IncTick();
  }
}

void Error_Handler(void)
{
  __disable_irq();
  while (1)
  {
  }
}
